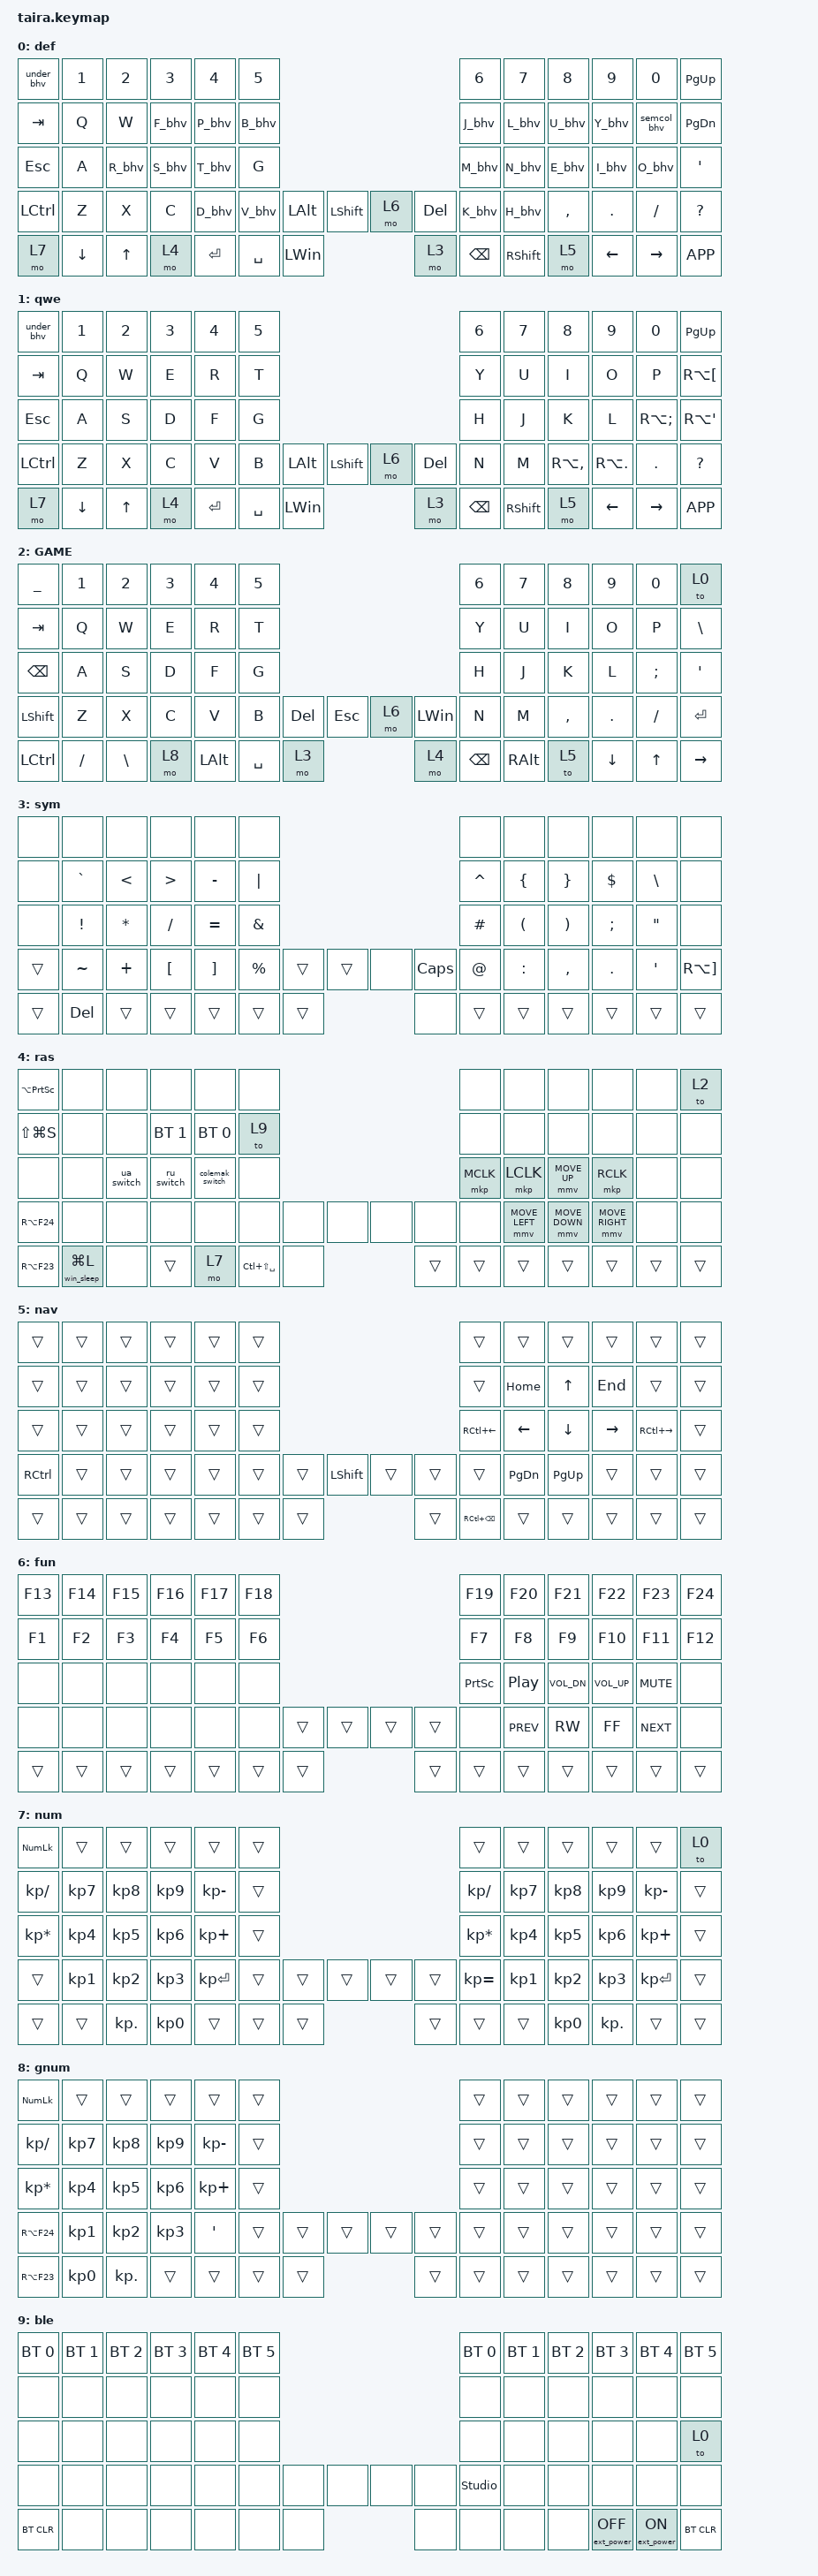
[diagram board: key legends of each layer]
/*
 * Copyright (c) 2020 The ZMK Contributors
 *
 * SPDX-License-Identifier: MIT
 */

#include <behaviors.dtsi>
#include <dt-bindings/zmk/bt.h>
#include <dt-bindings/zmk/ext_power.h>
#include <dt-bindings/zmk/keys.h>
#include <dt-bindings/zmk/pointing.h>

/ {
    conditional_layers {
        compatible = "zmk,conditional-layers";

        right_sym {
            if-layers = <5 7>;
            then-layer = <8>;
        };
    };

    macros {
        colemak_switch: eng_colemak_switch {
            compatible = "zmk,behavior-macro";
            #binding-cells = <0>;
            bindings = <&kp LS(LC(NUMBER_1)) &to 0>;
            label = "ENG_COLEMAK_SWITCH";
        };

        ru_switch: ru_switch {
            compatible = "zmk,behavior-macro";
            #binding-cells = <0>;
            bindings = <&kp LS(LC(NUMBER_2)) &to 1>;
            label = " RU_SWITCH";
        };

        ua_switch: ua_switch {
            compatible = "zmk,behavior-macro";
            #binding-cells = <0>;
            bindings = <&kp LS(LC(NUMBER_3)) &to 1>;
            label = "UA_SWITCH";
        };

        win_sleep: win_sleep {
            wait-ms = <50>;
            tap-ms = <5>;
            compatible = "zmk,behavior-macro";
            label = "WIN_SLEEP_KEY";
            #binding-cells = <0>;
            bindings = <&colemak_switch &kp LG(X) &kp U &kp S>;
        };
    };

    behaviors {
        sleep_behavior: sleep_behavior {
            compatible = "zmk,behavior-hold-tap";
            label = "SLEEP_BEHAVIOR";
            bindings = <&win_sleep>, <&kp>;

            #binding-cells = <2>;
            flavor = "tap-preferred";
            tapping-term-ms = <500>;
        };

        D_bhv: D_bhv {
            compatible = "zmk,behavior-mod-morph";
            label = "D_BHV";
            bindings = <&kp D>, <&kp V>;

            #binding-cells = <0>;
            mods = <(MOD_LCTL|MOD_LGUI)>;
            keep-mods = <(MOD_LGUI|MOD_LCTL)>;
        };

        T_bhv: T_bhv {
            compatible = "zmk,behavior-mod-morph";
            label = "T_BHV";
            bindings = <&kp T>, <&kp F>;

            #binding-cells = <0>;
            mods = <(MOD_LCTL|MOD_LGUI)>;
            keep-mods = <(MOD_LGUI|MOD_LCTL)>;
        };

        R_bhv: R_bhv {
            compatible = "zmk,behavior-mod-morph";
            label = "R_BHV";
            bindings = <&kp R>, <&kp S>;

            #binding-cells = <0>;
            mods = <(MOD_LCTL|MOD_LGUI)>;
            keep-mods = <(MOD_LGUI|MOD_LCTL)>;
        };

        S_bhv: S_bhv {
            compatible = "zmk,behavior-mod-morph";
            label = "S_BHV";
            bindings = <&kp S>, <&kp D>;

            #binding-cells = <0>;
            mods = <(MOD_LCTL|MOD_LGUI)>;
            keep-mods = <(MOD_LGUI|MOD_LCTL)>;
        };

        P_bhv: P_bhv {
            compatible = "zmk,behavior-mod-morph";
            label = "P_BHV";
            bindings = <&kp P>, <&kp R>;

            #binding-cells = <0>;
            mods = <(MOD_LCTL|MOD_LGUI)>;
            keep-mods = <(MOD_LGUI|MOD_LCTL)>;
        };

        B_bhv: B_bhv {
            compatible = "zmk,behavior-mod-morph";
            label = "B_BHV";
            bindings = <&kp B>, <&kp T>;

            #binding-cells = <0>;
            mods = <(MOD_LCTL|MOD_LGUI)>;
            keep-mods = <(MOD_LGUI|MOD_LCTL)>;
        };

        V_bhv: V_bhv {
            compatible = "zmk,behavior-mod-morph";
            label = "V_BHV";
            bindings = <&kp V>, <&kp B>;

            #binding-cells = <0>;
            mods = <(MOD_LCTL|MOD_LGUI)>;
            keep-mods = <(MOD_LGUI|MOD_LCTL)>;
        };

        F_bhv: F_bhv {
            compatible = "zmk,behavior-mod-morph";
            label = "F_BHV";
            bindings = <&kp F>, <&kp E>;

            #binding-cells = <0>;
            mods = <(MOD_LCTL|MOD_LGUI)>;
            keep-mods = <(MOD_LGUI|MOD_LCTL)>;
        };

        K_bhv: K_bhv {
            compatible = "zmk,behavior-mod-morph";
            label = "K_BHV";
            bindings = <&kp K>, <&kp N>;

            #binding-cells = <0>;
            mods = <(MOD_LCTL|MOD_LGUI)>;
            keep-mods = <(MOD_LGUI|MOD_LCTL)>;
        };

        M_bhv: M_bhv {
            compatible = "zmk,behavior-mod-morph";
            label = "M_BHV";
            bindings = <&kp M>, <&kp H>;

            #binding-cells = <0>;
            mods = <(MOD_LCTL|MOD_LGUI)>;
            keep-mods = <(MOD_LGUI|MOD_LCTL)>;
        };

        J_bhv: J_bhv {
            compatible = "zmk,behavior-mod-morph";
            label = "J_BHV";
            bindings = <&kp J>, <&kp Y>;

            #binding-cells = <0>;
            mods = <(MOD_LCTL|MOD_LGUI)>;
            keep-mods = <(MOD_LGUI|MOD_LCTL)>;
        };

        H_bhv: H_bhv {
            compatible = "zmk,behavior-mod-morph";
            label = "H_BHV";
            bindings = <&kp H>, <&kp M>;

            #binding-cells = <0>;
            mods = <(MOD_LCTL|MOD_LGUI)>;
            keep-mods = <(MOD_LGUI|MOD_LCTL)>;
        };

        N_bhv: N_bhv {
            compatible = "zmk,behavior-mod-morph";
            label = "N_BHV";
            bindings = <&kp N>, <&kp J>;

            #binding-cells = <0>;
            mods = <(MOD_LCTL|MOD_LGUI)>;
            keep-mods = <(MOD_LGUI|MOD_LCTL)>;
        };

        L_bhv: L_bhv {
            compatible = "zmk,behavior-mod-morph";
            label = "L_BHV";
            bindings = <&kp L>, <&kp U>;

            #binding-cells = <0>;
            mods = <(MOD_LCTL|MOD_LGUI)>;
            keep-mods = <(MOD_LGUI|MOD_LCTL)>;
        };

        E_bhv: E_bhv {
            compatible = "zmk,behavior-mod-morph";
            label = "E_BHV";
            bindings = <&kp E>, <&kp K>;

            #binding-cells = <0>;
            mods = <(MOD_LCTL|MOD_LGUI)>;
            keep-mods = <(MOD_LGUI|MOD_LCTL)>;
        };

        U_bhv: U_bhv {
            compatible = "zmk,behavior-mod-morph";
            label = "U_BHV";
            bindings = <&kp U>, <&kp I>;

            #binding-cells = <0>;
            mods = <(MOD_LCTL|MOD_LGUI)>;
            keep-mods = <(MOD_LGUI|MOD_LCTL)>;
        };

        I_bhv: I_bhv {
            compatible = "zmk,behavior-mod-morph";
            label = "I_BHV";
            bindings = <&kp I>, <&kp L>;

            #binding-cells = <0>;
            mods = <(MOD_LCTL|MOD_LGUI)>;
            keep-mods = <(MOD_LGUI|MOD_LCTL)>;
        };

        Y_bhv: Y_bhv {
            compatible = "zmk,behavior-mod-morph";
            label = "Y_BHV";
            bindings = <&kp Y>, <&kp O>;

            #binding-cells = <0>;
            mods = <(MOD_LCTL|MOD_LGUI)>;
            keep-mods = <(MOD_LGUI|MOD_LCTL)>;
        };

        O_bhv: O_bhv {
            compatible = "zmk,behavior-mod-morph";
            label = "O_BHV";
            bindings = <&kp O>, <&kp SEMICOLON>;

            #binding-cells = <0>;
            mods = <(MOD_LCTL|MOD_LGUI)>;
            keep-mods = <(MOD_LGUI|MOD_LCTL)>;
        };

        semcol_bhv: semcol_bhv {
            compatible = "zmk,behavior-mod-morph";
            label = "SEMCOL_BHV";
            bindings = <&kp SEMICOLON>, <&kp P>;

            #binding-cells = <0>;
            mods = <(MOD_LCTL|MOD_LGUI)>;
            keep-mods = <(MOD_LGUI|MOD_LCTL)>;
        };

        under_bhv: under_bhv {
            compatible = "zmk,behavior-mod-morph";
            label = "UNDER_BHV";
            bindings = <&kp UNDER>, <&kp LS(TAB)>;

            #binding-cells = <0>;
            mods = <(MOD_LALT)>;
            keep-mods = <(MOD_LALT)>;
        };
    };

    keymap {
        compatible = "zmk,keymap";

        default_layer {
            /* QWERTY
 * .----------------------------------------------------------------------------------------------------------------------------------.
 * |  `   |   1  |   2  |   3  |   4  |   5  |                                              |   6  |   7  |   8  |   9  |   0  | PScr |
 * |-------------+------+------+------+------+------+------+-------+-+-------+-------+------+------+------+------+------+------+------|
 * | ESC  |   Q  |   W  |   E  |   R  |   T  |                                              |   Y  |   U  |   I  |   O  |   P  |  \   |
 * |-------------+------+------+------+------+------+------+-------+-+-------+-------+------+------+------+------+------+------+------|
 * | Tab  |   A  |   S  |   D  |   F  |   G  |                                              |   H  |   J  |   K  |   L  |   ;  |  '   |
 * |-------------+------+------+------+------+------+------+-------+-+-------+-------+------+------+------+------+------+------+------|
 * | Shift|   Z  |   X  |   C  |   V  |   B  |      | Del  | PGDN  | | PGUP  | Home  |      |   N  |   M  |   ,  |   .  |   /  | Shift|
 * |-------------+------+------+------+------+------+------+-------+-+-------+-------+------+------+------+------+------+------+------|
 * | Ctrl | Alt  | Meta | Alt  |             | Meta | Space| Lower | | Raise | Enter | RAlt |             | LEFT | DOWN | UP   | RIGHT|
 * .----------------------------------------------------------------------------------------------------------------------------------.
 */

            bindings = <
&under_bhv        &kp N1          &kp N2        &kp N3  &kp N4  &kp N5                                                                   &kp N6  &kp N7  &kp N8     &kp N9          &kp N0           &kp PG_UP
&kp TAB           &kp Q           &kp W         &F_bhv  &P_bhv  &B_bhv                                                                   &J_bhv  &L_bhv  &U_bhv     &Y_bhv          &semcol_bhv      &kp PG_DN
&kp ESC           &kp A           &R_bhv        &S_bhv  &T_bhv  &kp G                                                                    &M_bhv  &N_bhv  &E_bhv     &I_bhv          &O_bhv           &kp SQT
&kp LEFT_CONTROL  &kp Z           &kp X         &kp C   &D_bhv  &V_bhv             &kp LEFT_ALT  &kp LSHFT  &mo 6  &kp DEL               &K_bhv  &H_bhv  &kp COMMA  &kp DOT         &kp SLASH        &kp QUESTION
&mo 7             &kp DOWN_ARROW  &kp UP_ARROW  &mo 4                   &kp ENTER  &kp SPACE     &kp LWIN   &mo 3  &kp BSPC  &kp RSHIFT                  &mo 5      &kp LEFT_ARROW  &kp RIGHT_ARROW  &kp K_APP
            >;

            label = "def";
        };

        qwerty_layer {
            bindings = <
&under_bhv        &kp N1          &kp N2        &kp N3  &kp N4  &kp N5                                                                   &kp N6  &kp N7  &kp N8         &kp N9          &kp N0           &kp PG_UP
&kp TAB           &kp Q           &kp W         &kp E   &kp R   &kp T                                                                    &kp Y   &kp U   &kp I          &kp O           &kp P            &kp RA(LBKT)
&kp ESC           &kp A           &kp S         &kp D   &kp F   &kp G                                                                    &kp H   &kp J   &kp K          &kp L           &kp RA(SEMI)     &kp RA(SQT)
&kp LEFT_CONTROL  &kp Z           &kp X         &kp C   &kp V   &kp B              &kp LEFT_ALT  &kp LSHFT  &mo 6  &kp DEL               &kp N   &kp M   &kp RA(COMMA)  &kp RA(DOT)     &kp DOT          &kp QUESTION
&mo 7             &kp DOWN_ARROW  &kp UP_ARROW  &mo 4                   &kp ENTER  &kp SPACE     &kp LWIN   &mo 3  &kp BSPC  &kp RSHIFT                  &mo 5          &kp LEFT_ARROW  &kp RIGHT_ARROW  &kp K_APP
            >;

            label = "qwe";
        };

        game_layer {
            bindings = <
&kp UNDER      &kp N1     &kp N2         &kp N3  &kp N4  &kp N5                                                                   &kp N6  &kp N7  &kp N8     &kp N9    &kp N0     &to 0
&kp TAB        &kp Q      &kp W          &kp E   &kp R   &kp T                                                                    &kp Y   &kp U   &kp I      &kp O     &kp P      &kp BSLH
&kp BACKSPACE  &kp A      &kp S          &kp D   &kp F   &kp G                                                                    &kp H   &kp J   &kp K      &kp L     &kp SEMI   &kp SQT
&kp LSHFT      &kp Z      &kp X          &kp C   &kp V   &kp B                 &kp DEL    &kp ESC  &mo 6  &kp LEFT_WIN            &kp N   &kp M   &kp COMMA  &kp DOT   &kp SLASH  &kp ENTER
&kp LCTRL      &kp SLASH  &kp BACKSLASH  &mo 8                   &kp LEFT_ALT  &kp SPACE  &mo 3    &mo 4  &kp BSPC      &kp RALT                  &to 5      &kp DOWN  &kp UP     &kp RIGHT
            >;

            label = "GAME";
        };

        symbol_layer {
            bindings = <
&none   &none      &none     &none             &none              &none                                                         &none      &none           &none            &none     &none              &none
&none   &kp GRAVE  &kp LT    &kp GT            &kp MINUS          &kp PIPE                                                      &kp CARET  &kp LEFT_BRACE  &kp RIGHT_BRACE  &kp DLLR  &kp BACKSLASH      &none
&none   &kp EXCL   &kp STAR  &kp SLASH         &kp EQUAL          &kp AMPS                                                      &kp HASH   &kp LPAR        &kp RPAR         &kp SEMI  &kp DOUBLE_QUOTES  &none
&trans  &kp TILDE  &kp PLUS  &kp LEFT_BRACKET  &kp RIGHT_BRACKET  &kp PERCENT          &trans  &trans  &none  &kp CAPS          &kp AT     &kp COLON       &kp COMMA        &kp DOT   &kp SINGLE_QUOTE   &kp RA(RBKT)
&trans  &kp DEL    &trans    &trans                                            &trans  &trans  &trans  &none  &trans    &trans                             &trans           &trans    &trans             &trans
            >;

            label = "sym";
        };

        raise_layer {
            bindings = <
&kp LA(PRINTSCREEN)  &none                    &none       &none         &none            &none                                                           &none      &none           &none           &none            &none   &to 2
&kp LS(LG(S))        &none                    &none       &bt BT_SEL 1  &bt BT_SEL 0     &to 9                                                           &none      &none           &none           &none            &none   &none
&none                &none                    &ua_switch  &ru_switch    &colemak_switch  &none                                                           &mkp MCLK  &mkp LCLK       &mmv MOVE_UP    &mkp RCLK        &none   &none
&kp RA(F24)          &none                    &none       &none         &none            &none         &none              &none  &none   &none           &none      &mmv MOVE_LEFT  &mmv MOVE_DOWN  &mmv MOVE_RIGHT  &none   &none
&kp RA(F23)          &sleep_behavior 0 LG(L)  &none       &trans                                &mo 7  &kp LC(LS(SPACE))  &none  &trans  &trans  &trans                             &trans          &trans           &trans  &trans
            >;

            label = "ras";
        };

        nav_layer {
            bindings = <
&trans             &trans  &trans  &trans  &trans  &trans                                                                &trans        &trans     &trans     &trans     &trans         &trans
&trans             &trans  &trans  &trans  &trans  &trans                                                                &trans        &kp HOME   &kp UP     &kp END    &trans         &trans
&trans             &trans  &trans  &trans  &trans  &trans                                                                &kp RC(LEFT)  &kp LEFT   &kp DOWN   &kp RIGHT  &kp RC(RIGHT)  &trans
&kp RIGHT_CONTROL  &trans  &trans  &trans  &trans  &trans          &trans  &kp LSHFT  &trans  &trans                     &trans        &kp PG_DN  &kp PG_UP  &trans     &trans         &trans
&trans             &trans  &trans  &trans                  &trans  &trans  &trans     &trans  &kp RC(BACKSPACE)  &trans                           &trans     &trans     &trans         &trans
            >;

            label = "nav";
        };

        f_layer {
            bindings = <
&kp F13  &kp F14  &kp F15  &kp F16  &kp F17  &kp F18                                                  &kp F19          &kp F20     &kp F21       &kp F22       &kp F23     &kp F24
&kp F1   &kp F2   &kp F3   &kp F4   &kp F5   &kp F6                                                   &kp F7           &kp F8      &kp F9        &kp F10       &kp F11     &kp F12
&none    &none    &none    &none    &none    &none                                                    &kp PRINTSCREEN  &kp C_PP    &kp C_VOL_DN  &kp C_VOL_UP  &kp C_MUTE  &none
&none    &none    &none    &none    &none    &none            &trans  &trans  &trans  &trans          &none            &kp C_PREV  &kp C_RW      &kp C_FF      &kp C_NEXT  &none
&trans   &trans   &trans   &trans                     &trans  &trans  &trans  &trans  &trans  &trans                               &trans        &trans        &trans      &trans
            >;

            label = "fun";
        };

        numpad_layer {
            bindings = <
&kp KP_NUM       &trans     &trans      &trans     &trans        &trans                                                  &trans           &trans           &trans           &trans           &trans        &to 0
&kp KP_SLASH     &kp KP_N7  &kp KP_N8   &kp KP_N9  &kp KP_MINUS  &trans                                                  &kp KP_SLASH     &kp KP_NUMBER_7  &kp KP_NUMBER_8  &kp KP_NUMBER_9  &kp KP_MINUS  &trans
&kp KP_MULTIPLY  &kp KP_N4  &kp KP_N5   &kp KP_N6  &kp KP_PLUS   &trans                                                  &kp KP_MULTIPLY  &kp KP_NUMBER_4  &kp KP_NUMBER_5  &kp KP_NUMBER_6  &kp KP_PLUS   &trans
&trans           &kp KP_N1  &kp KP_N2   &kp KP_N3  &kp KP_ENTER  &trans          &trans  &trans  &trans  &trans          &kp KP_EQUAL     &kp KP_NUMBER_1  &kp KP_NUMBER_2  &kp KP_NUMBER_3  &kp KP_ENTER  &trans
&trans           &trans     &kp KP_DOT  &kp KP_N0                        &trans  &trans  &trans  &trans  &trans  &trans                                    &kp KP_NUMBER_0  &kp KP_DOT       &trans        &trans
            >;

            label = "num";
        };

        game_num_layer {
            bindings = <
&kp KP_NUM       &trans           &trans           &trans           &trans            &trans                                                  &trans  &trans  &trans  &trans  &trans  &trans
&kp KP_SLASH     &kp KP_NUMBER_7  &kp KP_NUMBER_8  &kp KP_NUMBER_9  &kp KP_MINUS      &trans                                                  &trans  &trans  &trans  &trans  &trans  &trans
&kp KP_MULTIPLY  &kp KP_NUMBER_4  &kp KP_NUMBER_5  &kp KP_NUMBER_6  &kp KP_PLUS       &trans                                                  &trans  &trans  &trans  &trans  &trans  &trans
&kp RA(F24)      &kp KP_NUMBER_1  &kp KP_NUMBER_2  &kp KP_NUMBER_3  &kp SINGLE_QUOTE  &trans          &trans  &trans  &trans  &trans          &trans  &trans  &trans  &trans  &trans  &trans
&kp RA(F23)      &kp KP_NUMBER_0  &kp KP_DOT       &trans                                     &trans  &trans  &trans  &trans  &trans  &trans                  &trans  &trans  &trans  &trans
            >;

            label = "gnum";
        };

        ble_layer {
            bindings = <
&bt BT_SEL 0  &bt BT_SEL 1  &bt BT_SEL 2  &bt BT_SEL 3  &bt BT_SEL 4  &bt BT_SEL 5                                            &bt BT_SEL 0    &bt BT_SEL 1  &bt BT_SEL 2  &bt BT_SEL 3       &bt BT_SEL 4      &bt BT_SEL 5
&none         &none         &none         &none         &none         &none                                                   &none           &none         &none         &none              &none             &none
&none         &none         &none         &none         &none         &none                                                   &none           &none         &none         &none              &none             &to 0
&none         &none         &none         &none         &none         &none                &none  &none  &none  &none         &studio_unlock  &none         &none         &none              &none             &none
&bt BT_CLR    &none         &none         &none                                     &none  &none  &none  &none  &none  &none                                &none         &ext_power EP_OFF  &ext_power EP_ON  &bt BT_CLR
            >;

            label = "ble";
        };
    };
};
